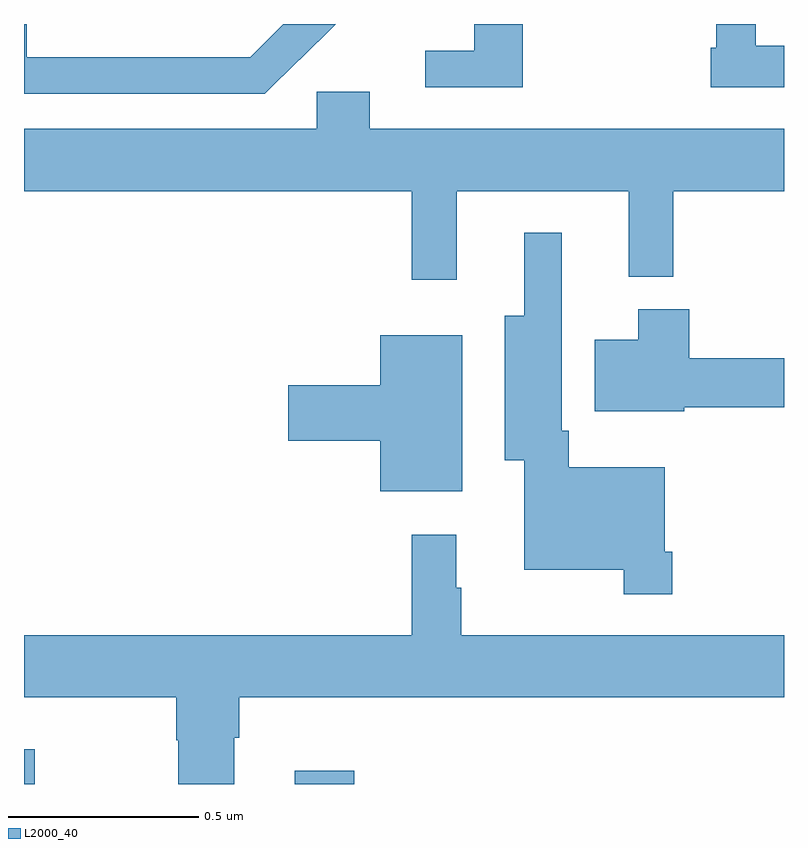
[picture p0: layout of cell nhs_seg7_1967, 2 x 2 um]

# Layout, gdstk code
import gdstk
lib = gdstk.Library(unit=1e-6, precision=1e-09)
def R(c, l, rs):  # rectangles x0, y0, x1, y1
    for r in rs: c.add(gdstk.rectangle(r[:2], r[2:], *l))
def P(c, l, *ps):  # polygons
    for p in ps: c.add(gdstk.Polygon(p, *l))
L2000_40 = (2000, 40)

nhs_seg7_1967 = lib.new_cell('nhs_seg7_1967')
R(nhs_seg7_1967, L2000_40, [(138,1055,138.028,1055.092), (138.713,1055,138.869,1055.035)])
P(nhs_seg7_1967, L2000_40, [(139.313,1057),(139.185,1057),(139.185,1056.93),(139.056,1056.93),(139.056,1056.834),(139.313,1056.834)],
  [(140,1056.943),(139.925,1056.943),(139.925,1057),(139.822,1057),(139.822,1056.937),(139.807,1056.937),(139.807,1056.834),(140,1056.834)],
  [(138.725,1056.907),(138.726,1056.906),(138.82,1057),(138.682,1057),(138.595,1056.913),(138.491,1056.913),(138.491,1056.912),(138.007,1056.912),(138.007,1057),(138,1057),(138,1056.816),(138.634,1056.816)],
  [(139.139,1056.56),(139.592,1056.56),(139.592,1056.335),(139.709,1056.335),(139.709,1056.56),(140,1056.56),(140,1056.724),(138.91,1056.724),(138.91,1056.822),(138.771,1056.822),(138.771,1056.724),(138,1056.724),(138,1056.56),(139.021,1056.56),(139.021,1056.327),(139.139,1056.327)],
  [(139.706,1055.611),(139.686,1055.611),(139.686,1055.833),(139.433,1055.833),(139.433,1055.929),(139.415,1055.929),(139.415,1056.451),(139.316,1056.451),(139.316,1056.232),(139.265,1056.232),(139.265,1055.852),(139.316,1055.852),(139.316,1055.564),(139.578,1055.564),(139.578,1055.499),(139.706,1055.499)],
  [(139.738,1055.992),(140,1055.992),(140,1056.121),(139.751,1056.121),(139.751,1056.25),(139.616,1056.25),(139.616,1056.169),(139.502,1056.169),(139.502,1055.981),(139.738,1055.981)],
  [(139.153,1056.181),(138.938,1056.181),(138.938,1056.05),(138.696,1056.05),(138.696,1055.903),(138.938,1055.903),(138.938,1055.771),(139.153,1055.771)],
  [(138.553,1055.122),(138.566,1055.122),(138.566,1055.228),(140,1055.228),(140,1055.392),(139.15,1055.392),(139.15,1055.516),(139.138,1055.516),(139.138,1055.656),(139.021,1055.656),(139.021,1055.392),(138,1055.392),(138,1055.228),(138.401,1055.228),(138.401,1055.115),(138.406,1055.115),(138.406,1055),(138.553,1055)])

lib.write_gds('nhs_seg7_1967.gds')
